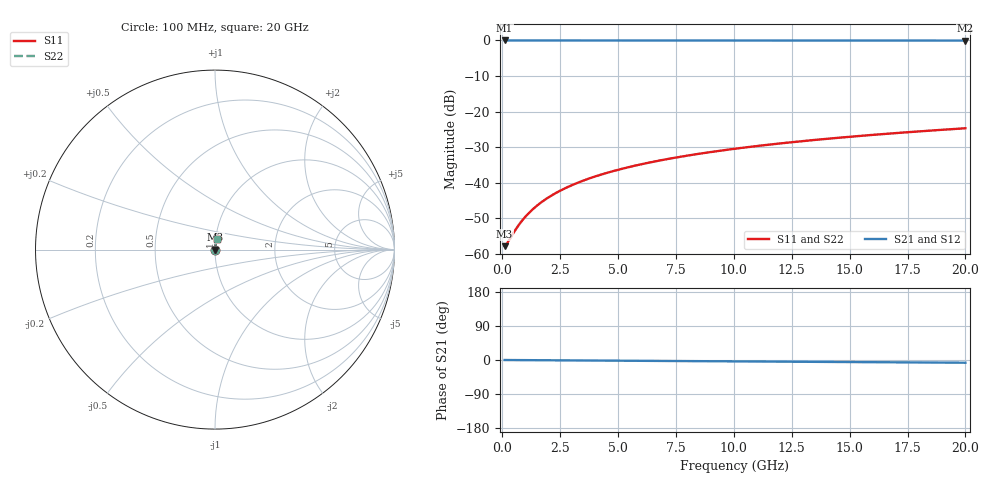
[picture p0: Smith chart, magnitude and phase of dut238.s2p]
! Touchstone file exported from HFSS 2026.1.0
!  File:  C:/ffzhzh/LocalFiles/Ansys_Project_Files/temp_train_TSV_238_1782992524_41620.aedt
!  Generated:  07:44:08 PM Jul  2, 2026
!  Design:  TSV
!  Project:  temp_train_TSV_238_1782992524_41620
! Variables:
!  h_bsmrdl = 2um
!  h_ox = 20um
!  h_rdl = 5um
!  h_sub = 65.9um
!  h_tmrdl = 5um
!  h_tsv = 65.9um
!  h_via = 3um
!  l_bsmrdl = 300um
!  l_sub = 404.96um
!  l_tmrdl = 200um
!  m_sub = 200um
!  pitch = 22.11um
!  r_tsv = 2.48um
!  s_tmrdl = 10um
!  w_bsmrdl = 18um
!  w_sub = 500um
!  w_tmrdl = 12um
!  x_tsv_center1 = 206um
!  x_tsv_center2 = 524um
!  x_tsv_center3 = 736um
!  x_tsv_center4 = 1054um
!  x_tsv_center5 = 1266um
!  x_tsv_center6 = 1584um
# GHz S MA R 50.000000
! Terminal data exported
! Port[1] = TSV1_1_T1
! Port[2] = TSV1_1_T2
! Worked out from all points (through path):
!   200 points, 100 MHz to 20 GHz, reference 50 ohm
!   highest |S21| = -0.01 dB at 100 MHz (marker M1); lowest = 0.0 dB at 20 GHz (marker M2)
!   group delay of S21, straight-line fit = 1 ps
!   lowest |S11| = -57.8 dB at 100 MHz (marker M3), VSWR 1.00, Z = 50.1 + j0.0317 ohm
!   |S11| at or under -10 dB: start of sweep to end of sweep
!   |S22| runs from -57.8 to -24.7 dB; largest |S21 - S12| = 3.6e-15
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0.1  0.001291 14.2  0.9987 -0.0  0.9987 -0.0  0.001291 14.2
! Gamma 0 0 0 0
! Port Impedance 50 0 50 0
0.2  0.001407 26.6  0.9987 -0.1  0.9987 -0.1  0.001407 26.6
0.6  0.00227 55.2  0.9987 -0.2  0.9987 -0.2  0.00227 55.2
0.8  0.0028 62.0  0.9987 -0.3  0.9987 -0.3  0.0028 62.0
0.9  0.003074 64.4  0.9987 -0.3  0.9987 -0.3  0.003074 64.4
1.1  0.003637 68.3  0.9987 -0.4  0.9987 -0.4  0.003637 68.3
1.3  0.004211 71.1  0.9987 -0.5  0.9987 -0.5  0.004211 71.1
1.5  0.004793 73.2  0.9986 -0.6  0.9986 -0.6  0.004793 73.2
1.9  0.005972 76.1  0.9986 -0.7  0.9986 -0.7  0.005972 76.1
2.4  0.007461 78.4  0.9986 -0.9  0.9986 -0.9  0.007461 78.4
2.9  0.008959 79.8  0.9985 -1.1  0.9985 -1.1  0.008959 79.8
3.5  0.01076 80.9  0.9985 -1.3  0.9985 -1.3  0.01076 80.9
4.2  0.01286 81.6  0.9984 -1.5  0.9984 -1.5  0.01286 81.6
5  0.01525 82.1  0.9983 -1.8  0.9983 -1.8  0.01525 82.1
5.9  0.01794 82.4  0.9981 -2.2  0.9981 -2.2  0.01794 82.4
6.8  0.02061 82.5  0.998 -2.5  0.998 -2.5  0.02061 82.5
8.3  0.02503 82.4  0.9977 -3.0  0.9977 -3.0  0.02503 82.4
10.1  0.03028 82.1  0.9973 -3.7  0.9973 -3.7  0.03028 82.1
11.7  0.0349 81.7  0.9969 -4.3  0.9969 -4.3  0.0349 81.7
13.4  0.03978 81.3  0.9965 -4.9  0.9965 -4.9  0.03978 81.3
16.7  0.04914 80.4  0.9958 -6.0  0.9958 -6.0  0.04914 80.4
20  0.0584 79.5  0.9949 -7.2  0.9949 -7.2  0.0584 79.5
